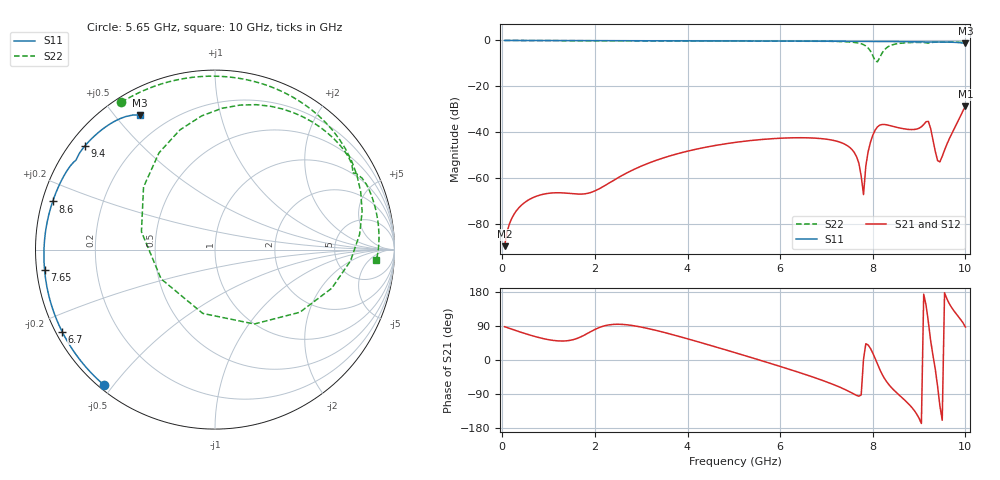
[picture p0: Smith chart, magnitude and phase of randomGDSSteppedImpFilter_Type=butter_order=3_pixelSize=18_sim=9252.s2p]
! freq	dB(S11)	phase(S11)	dB(S12)	phase(S12)
!  dB(S21)	phase(S21)	dB(S22)	phase(S22)
!S-par simulation data
#  GHz  S  DB  R 50
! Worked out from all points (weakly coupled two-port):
!   200 points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, 50 MHz to 10 GHz, reference 50 ohm
!   highest |S21| = -28.75 dB at 10 GHz (marker M1); lowest = -89.7 dB at 50 MHz (marker M2)
!   lowest |S11| = -1.3 dB at 10 GHz (marker M3), VSWR 13.21, Z = 5.08 + j29.1 ohm
!   |S11| at or under -10 dB: nowhere
!   |S22| runs from -9.3 to 0.0 dB; largest |S21 - S12| = 0
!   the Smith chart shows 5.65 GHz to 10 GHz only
!   S11 on the Smith chart (normalised r, x): 5.65 GHz: 0.02, -0.47; 6.7 GHz: 0.02, -0.25; 7.65 GHz: 0.02, -0.06; 8.6 GHz: 0.03, +0.15; 9.4 GHz: 0.04, +0.35; 10 GHz: 0.10, +0.58
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0.05  -0.00 -1.3  -89.66 87.9  -89.66 87.9  -0.00 -3.1
0.7  -0.02 -17.3  -68.17 62.1  -68.17 62.1  -0.05 -41.8
1.75  -0.05 -42.8  -66.91 64.3  -66.91 64.3  -0.11 -96.8
2.6  -0.08 -62.6  -58.69 93.9  -58.69 93.9  -0.13 -133.2
3.4  -0.11 -80.7  -51.71 75.7  -51.71 75.7  -0.15 -162.8
5.05  -0.18 -116.5  -44.38 18.5  -44.38 18.5  -0.21 142.4
5.65  -0.22 -129.2  -43.08 -3.7  -43.08 -3.7  -0.24 122.4
6.7  -0.30 -151.8  -42.52 -44.7  -42.52 -44.7  -0.31 84.0
7.35  -0.36 -166.3  -44.78 -75.0  -44.78 -75.0  -0.51 52.3
7.65  -0.39 -173.2  -50.63 -93.4  -50.63 -93.4  -0.98 27.7
7.7  -0.39 -174.3  -53.52 -95.6  -53.52 -95.6  -1.18 21.6
7.8  -0.41 -176.7  -67.18 2.2  -67.18 2.2  -1.83 6.0
7.85  -0.41 -177.9  -54.71 43.0  -54.71 43.0  -2.40 -4.6
8  -0.43 178.5  -41.32 18.5  -41.32 18.5  -6.58 -62.1
8.15  -0.45 174.9  -36.92 -24.5  -36.92 -24.5  -7.50 166.4
8.25  -0.46 172.4  -36.62 -48.1  -36.62 -48.1  -4.11 120.0
8.35  -0.47 169.9  -37.00 -65.3  -37.00 -65.3  -2.51 95.7
8.6  -0.51 163.5  -38.23 -95.8  -38.23 -95.8  -1.22 64.3
9.2  -0.71 147.2  -35.26 100.7  -35.26 100.7  -1.14 29.2
9.4  -0.66 141.5  -52.38 -69.7  -52.38 -69.7  -0.71 21.0
9.45  -0.67 139.9  -52.93 -121.9  -52.93 -121.9  -0.70 18.7
10  -1.32 119.1  -28.75 87.0  -28.75 87.0  -0.91 -3.7
